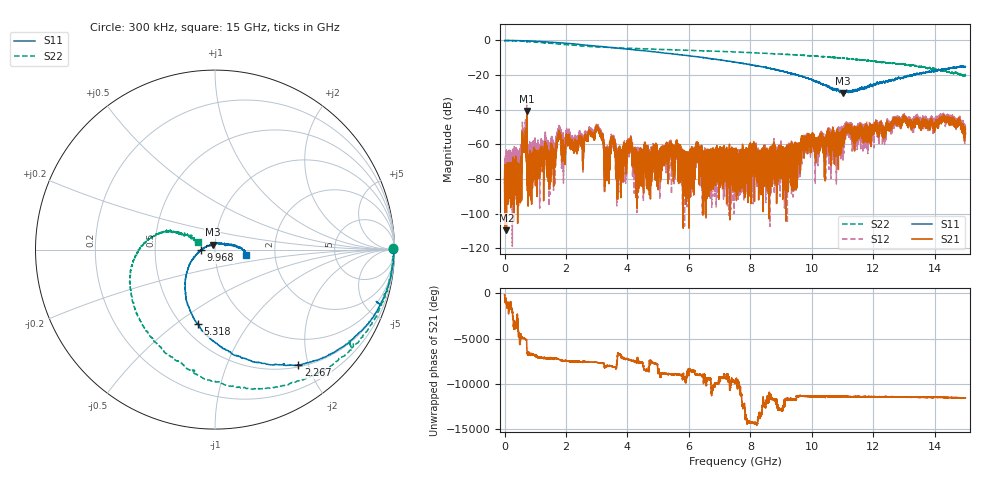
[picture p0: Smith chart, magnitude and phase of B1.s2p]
!Agilent Technologies,N5230C,SG49000117,A.08.50.07
!Agilent N5230C: A.08.50.07
!Date: Monday, December 11, 2023 21:17:29
!Correction: S11(Full 2 Port(1,2))
!S21(Full 2 Port(1,2))
!S12(Full 2 Port(1,2))
!S22(Full 2 Port(1,2))
!S2P File: Measurements: S11, S21, S12, S22:
# Hz S  RI  R 50
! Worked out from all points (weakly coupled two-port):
!   20001 points, 300 kHz to 15 GHz, reference 50 ohm
!   highest |S21| = -40.70 dB at 721.8 MHz (marker M1); lowest = -109.7 dB at 61.8 MHz (marker M2)
!   lowest |S11| = -30.5 dB at 11 GHz (marker M3), VSWR 1.06, Z = 48.6 + j2.59 ohm
!   |S11| at or under -10 dB: 6.516704 GHz to 6.519147 GHz (2.443 MHz wide, 0.0375 % of centre); 6.519184 GHz to 6.521174 GHz (1.99 MHz wide, 0.0305 % of centre); 6.522 GHz to end of sweep (the widest 3 of 4)
!   |S22| runs from -20.8 to 0.0 dB; largest |S21 - S12| = 0.0083
!   S11 on the Smith chart (normalised r, x): 300 kHz: open; 2.267 GHz: 0.53, -1.84; 5.318 GHz: 0.60, -0.60; 9.968 GHz: 0.86, -0.00; 15 GHz: 1.42, -0.09
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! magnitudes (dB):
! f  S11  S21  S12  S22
! 300 kHz  -0.1  -78.7  -74.8  -0.1
! 61.8 MHz  0.0  -109.7  -64.9  -0.1
! 478.8 MHz  -0.1  -93.4  -80.9  -0.3
! 647.5 MHz  -0.2  -62.3  -58.7  -0.5
! 721.8 MHz  -0.5  -40.7  -35.4  -0.9
! 2.267 GHz  -2.0  -62.1  -58.2  -2.8
! 2.501 GHz  -2.5  -56.8  -56.3  -3.2
! 3.021 GHz  -3.3  -51.3  -49.4  -3.7
! 3.322 GHz  -3.8  -69.1  -64.2  -4.0
! 3.514 GHz  -4.2  -59.4  -56.4  -4.1
! 3.72 GHz  -4.5  -65.8  -71.0  -4.3
! 4.063 GHz  -5.1  -59.9  -60.2  -4.5
! 4.319 GHz  -5.6  -73.8  -77.7  -4.7
! 5 GHz  -6.8  -75.9  -66.2  -5.1
! 5.318 GHz  -7.4  -69.0  -70.1  -5.3
! 7.5 GHz  -12.5  -72.0  -66.4  -6.7
! 9.095 GHz  -18.0  -75.1  -70.0  -8.0
! 9.968 GHz  -22.3  -61.8  -63.1  -8.8
! 10 GHz  -22.7  -59.6  -57.0  -8.9
! 11 GHz  -30.5  -55.3  -58.3  -10.2
! 12.5 GHz  -23.3  -50.6  -48.0  -13.0
! 15 GHz  -15.1  -54.1  -50.2  -19.8
